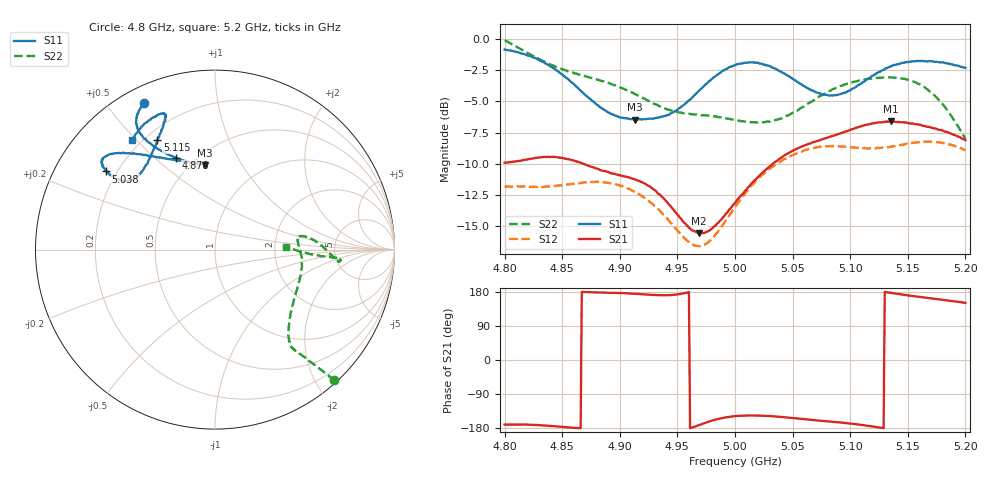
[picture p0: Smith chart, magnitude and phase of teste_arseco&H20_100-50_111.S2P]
! Network Analyzer HP8722D
! Hewlett-Packard
! Data name: Linha & Wilkinson
! Saver's name: Rodrigo Anjos
! Comments: Teste da utilização de aquisição
! continua pelo VNA HP8722D
! Time and date: 6/5/2025 13:29
!  Frequency  S11  S21  S12  S22
# HZ  S  MA R 50
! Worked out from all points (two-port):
!   401 points, 4.8 GHz to 5.2 GHz, reference 50 ohm
!   highest |S21| = -6.60 dB at 5.135 GHz (marker M1); lowest = -15.5 dB at 4.969 GHz (marker M2)
!   |S21| within 3 dB of the highest: 4.822 GHz to 4.853 GHz (30.46 MHz wide, 0.63 % of centre); 5.039 GHz to end of sweep
!   lowest |S11| = -6.5 dB at 4.913 GHz (marker M3), VSWR 2.81, Z = 29 + j35.4 ohm
!   |S11| at or under -10 dB: nowhere
!   |S22| runs from -8.0 to -0.1 dB; largest |S21 - S12| = 0.83
!   S11 on the Smith chart (normalised r, x): 4.8 GHz: 0.07, +0.62; 4.878 GHz: 0.40, +0.59; 5.038 GHz: 0.16, +0.31; 5.115 GHz: 0.25, +0.58; 5.2 GHz: 0.17, +0.48
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4.8e9  0.9058 115.9  0.3199 -170.5  0.2569 -86.2  0.9849 -47.6
4.834e9  0.8064 122.5  0.3371 -172.8  0.2562 -77.0  0.812 -49.7
4.849e9  0.7254 122.0  0.3351 -176.3  0.2598 -72.0  0.7593 -50.6
4.867e9  0.614 117.9  0.3186 179.8  0.265 -67.4  0.7163 -51.5
4.878e9  0.5556 112.9  0.3053 178.5  0.2678 -66.0  0.6925 -51.9
4.898e9  0.4898 102.5  0.2865 176.9  0.2605 -66.5  0.647 -50.4
4.913e9  0.4751 96.6  0.2745 174.8  0.2446 -68.0  0.6021 -47.0
4.934e9  0.4854 99.1  0.2395 170.9  0.2075 -69.4  0.5388 -37.6
4.948e9  0.5133 107.7  0.2037 172.2  0.1756 -66.6  0.5113 -28.3
4.969e9  0.6216 123.3  0.167 -171.5  0.1483 -48.0  0.4969 -15.2
4.98e9  0.6915 129.5  0.1745 -159.9  0.1588 -35.1  0.4909 -9.3
5e9  0.7871 137.2  0.221 -148.4  0.2126 -21.5  0.474 -0.3
5.019e9  0.8034 141.7  0.2773 -146.5  0.2719 -18.4  0.4624 5.8
5.038e9  0.7473 144.3  0.33 -149.8  0.3208 -18.4  0.4781 8.8
5.067e9  0.6216 142.0  0.385 -158.0  0.3654 -20.6  0.5624 4.6
5.088e9  0.5956 133.2  0.4141 -164.0  0.372 -23.8  0.6381 -1.7
5.115e9  0.6902 117.8  0.4547 -173.6  0.3643 -26.7  0.6901 -5.3
5.134e9  0.7708 111.0  0.4662 177.9  0.3694 -28.7  0.7018 -4.8
5.135e9  0.7758 111.2  0.4678 177.4  0.3704 -28.7  0.702 -4.7
5.162e9  0.8168 112.7  0.4509 165.9  0.3875 -35.5  0.6518 -3.8
5.181e9  0.8039 119.4  0.4286 158.5  0.3833 -41.3  0.5432 -2.9
5.2e9  0.7649 127.3  0.3931 150.8  0.3583 -46.4  0.3974 2.3
